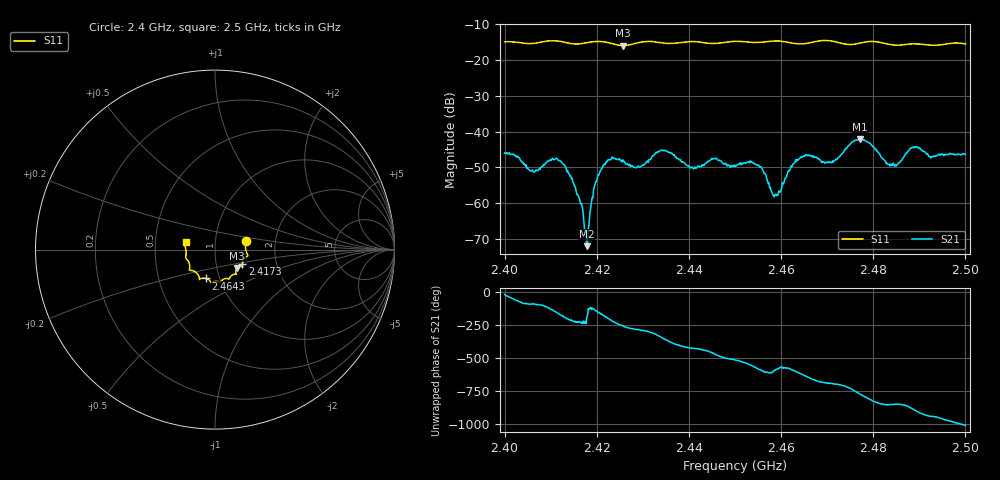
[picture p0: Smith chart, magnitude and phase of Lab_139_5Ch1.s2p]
# Hz S RI R 50
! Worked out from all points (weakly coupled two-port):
!   601 points, 2.4 GHz to 2.5 GHz, reference 50 ohm
!   highest |S21| = -42.19 dB at 2.4772 GHz (marker M1); lowest = -72.1 dB at 2.4178 GHz (marker M2)
!   lowest |S11| = -15.9 dB at 2.4257 GHz (marker M3), VSWR 1.38, Z = 62.4 - j13.1 ohm
!   |S11| at or under -10 dB: start of sweep to end of sweep
!   S12 and S22 are empty: the file has one direction only
!   S11 on the Smith chart (normalised r, x): 2.4 GHz: 1.41, +0.14; 2.4173 GHz: 1.34, -0.23; 2.4643 GHz: 0.86, -0.28; 2.5 GHz: 0.72, +0.06
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2.4e9  0.173 0.0498  0.00462 -0.0019  0 0  0 0
2.406e9  0.1707 0.00092  -0.00012 -0.00291  0 0  0 0
2.411667e9  0.1811 -0.0356  -0.00381 -0.000987  0 0  0 0
2.416667e9  0.1527 -0.0746  -0.00052 0.000837  0 0  0 0
2.417333e9  0.1522 -0.0819  -0.000212 0.000381  0 0  0 0
2.417833e9  0.1523 -0.0868  -0.000241 5.95e-05  0 0  0 0
2.419333e9  0.1539 -0.0957  -0.00106 -0.00118  0 0  0 0
2.420833e9  0.1543 -0.0964  -0.00281 -0.000556  0 0  0 0
2.425667e9  0.1225 -0.1023  -0.000702 0.00396  0 0  0 0
2.429e9  0.1161 -0.1311  0.000984 0.00314  0 0  0 0
2.433333e9  0.1128 -0.1367  0.00458 0.00239  0 0  0 0
2.440667e9  0.0789 -0.1641  0.00117 -0.00296  0 0  0 0
2.45e9  0.0297 -0.1808  -0.00298 -0.00126  0 0  0 0
2.455333e9  -0.00136 -0.177  -0.00207 0.0024  0 0  0 0
2.458833e9  -0.0212 -0.1839  -0.000848 0.00101  0 0  0 0
2.464333e9  -0.0499 -0.1606  -0.000601 0.00437  0 0  0 0
2.466667e9  -0.0761 -0.16  0.00229 0.00391  0 0  0 0
2.471167e9  -0.0871 -0.162  0.00348 0.00174  0 0  0 0
2.477167e9  -0.1282 -0.1164  0.00456 -0.00629  0 0  0 0
2.483333e9  -0.1407 -0.0897  -0.00239 -0.00251  0 0  0 0
2.489e9  -0.1625 -0.0462  -0.00613 -0.000375  0 0  0 0
2.5e9  -0.1634 0.0419  0.00168 0.00443  0 0  0 0
